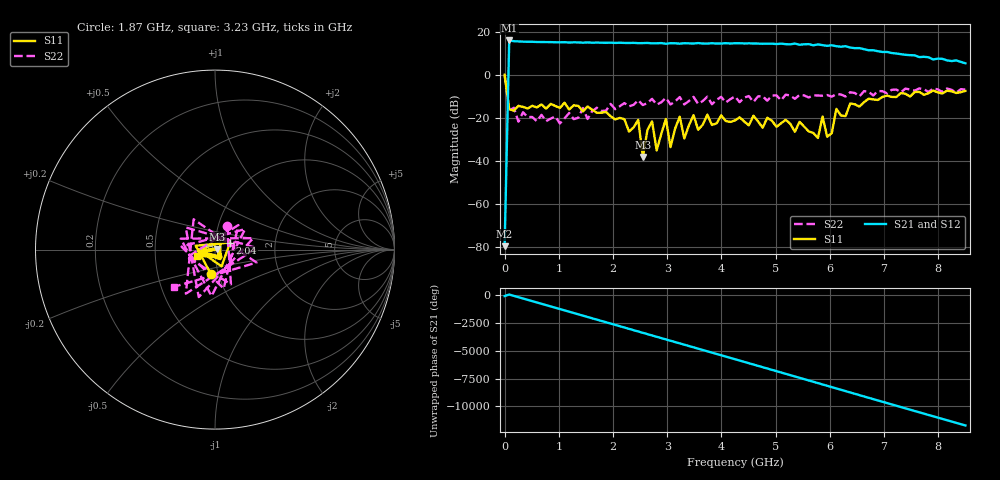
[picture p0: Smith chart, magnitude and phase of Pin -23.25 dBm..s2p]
! RsaToolbox (C) 2013 Rohde & Schwarz America
! Number of points: 101
! Number of ports: 2
! Balanced ports?: 0
# Hz S RI R 50
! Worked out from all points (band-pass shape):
!   101 points, 9 kHz to 8.5 GHz, reference 50 ohm
!   highest |S21| = 16.10 dB at 85.01 MHz (marker M1); lowest = -79.6 dB at 9 kHz (marker M2)
!   |S21| within 3 dB of the highest: 82.35 MHz to 6.334 GHz (6.251 GHz wide, 195 % of centre)
!   lowest |S11| = -38.1 dB at 2.55 GHz (marker M3), VSWR 1.03, Z = 51.2 + j0.308 ohm
!   |S11| at or under -10 dB: 53.65 MHz to 6.994 GHz (6.941 GHz wide, 197 % of centre); 7.117 GHz to 7.236 GHz (118.6 MHz wide, 1.65 % of centre)
!   |S22| runs from -22.5 to 0.2 dB; largest |S21 - S12| = 0
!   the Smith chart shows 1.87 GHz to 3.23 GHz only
!   S11 on the Smith chart (normalised r, x): 1.87 GHz: 0.92, -0.26; 2.04 GHz: 1.18, +0.09; 3.23 GHz: 0.81, -0.06
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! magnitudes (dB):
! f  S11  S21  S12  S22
! 9 kHz  0.2  -79.6  -79.6  0.2
! 85.01 MHz  -15.9  16.1  16.1  -16.6
! 1.02 GHz  -15.3  15.2  15.2  -22.5
! 1.445 GHz  -16.9  15.1  15.1  -15.3
! 1.87 GHz  -17.2  15.0  15.0  -16.6
! 2.04 GHz  -20.6  15.0  15.0  -15.9
! 2.465 GHz  -20.9  14.8  14.8  -11.7
! 2.55 GHz  -38.1  14.9  14.9  -14.0
! 2.72 GHz  -21.6  14.7  14.7  -11.1
! 2.805 GHz  -35.1  14.8  14.8  -13.8
! 2.89 GHz  -27.4  14.9  14.9  -12.7
! 2.975 GHz  -20.4  14.6  14.6  -10.6
! 3.06 GHz  -33.5  14.8  14.8  -13.7
! 3.23 GHz  -19.4  14.6  14.6  -10.2
! 3.315 GHz  -29.5  14.8  14.8  -13.7
! 3.485 GHz  -18.7  14.7  14.7  -10.1
! 3.57 GHz  -25.4  14.9  14.9  -13.4
! 4.25 GHz  -21.1  14.8  14.8  -10.0
! 5.695 GHz  -27.0  13.8  13.8  -9.5
! 6.12 GHz  -15.7  13.4  13.4  -8.8
! 7.14 GHz  -10.2  10.3  10.3  -6.9
! 8.5 GHz  -7.4  5.5  5.5  -6.7
